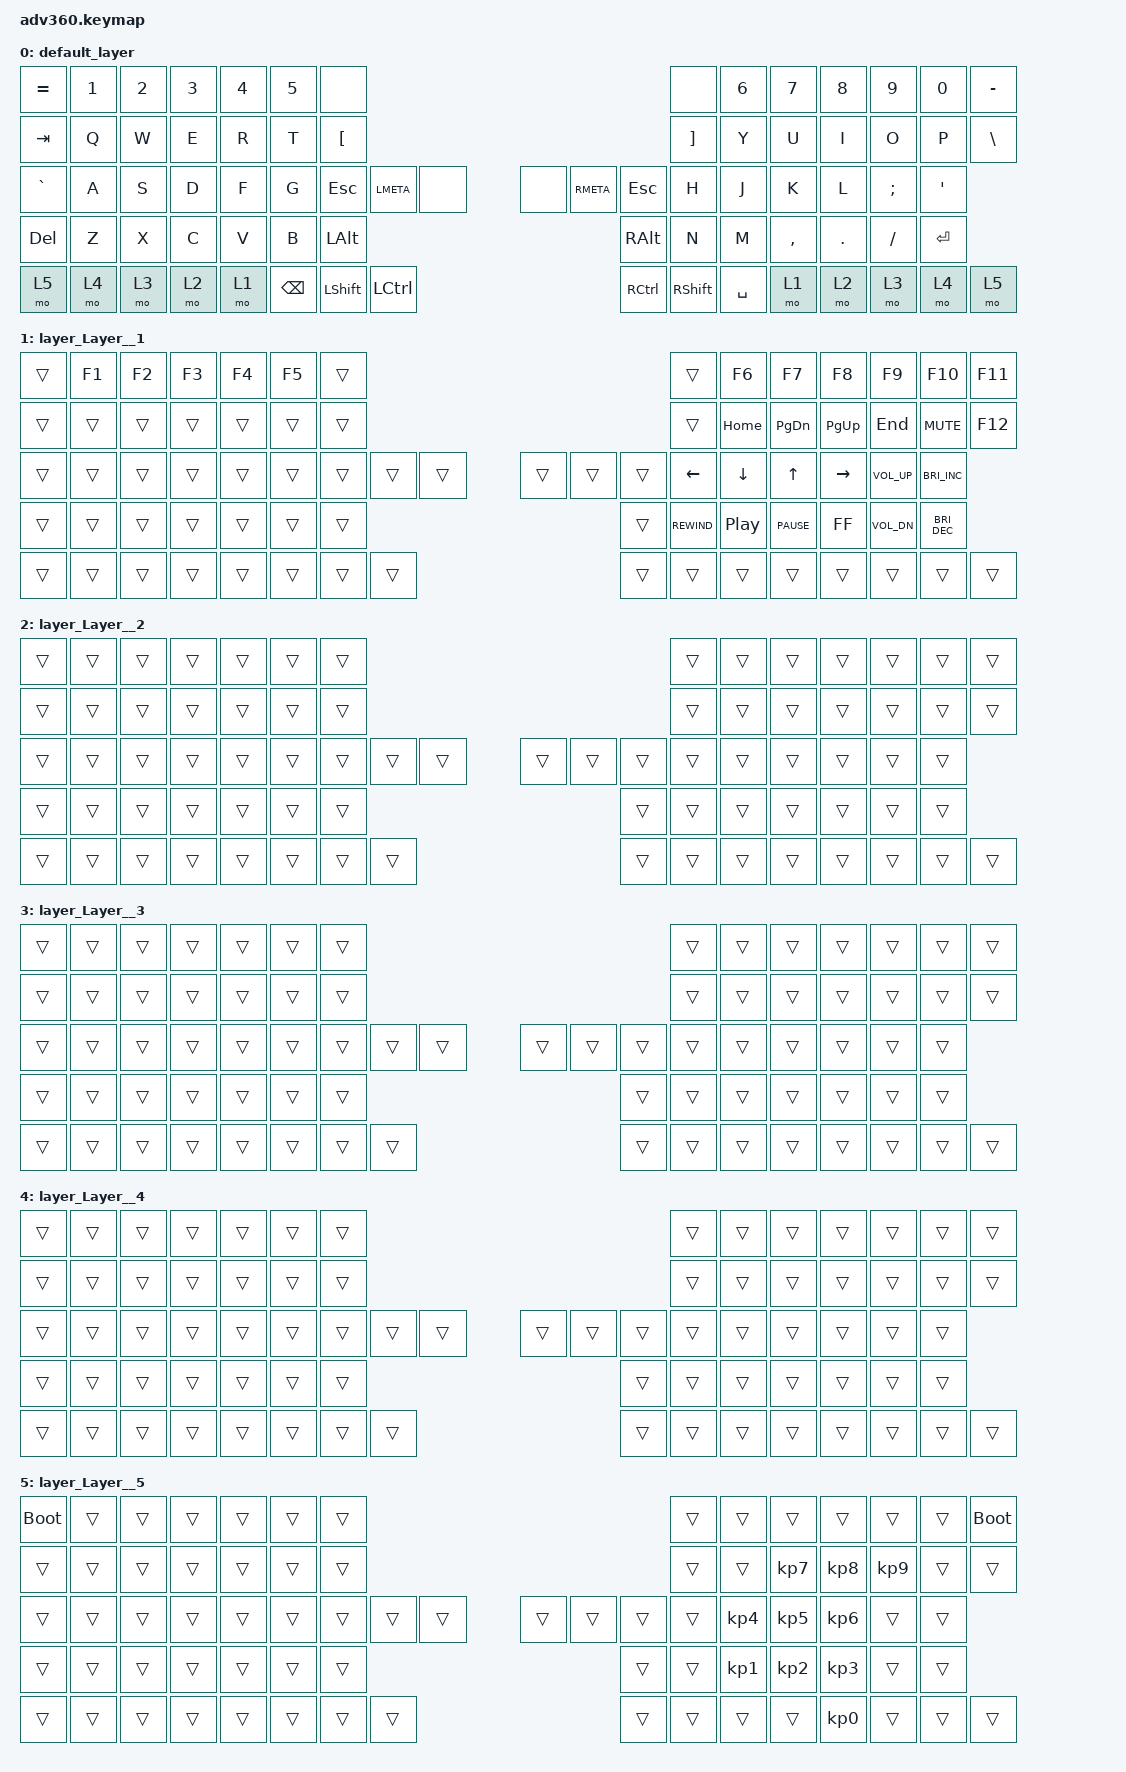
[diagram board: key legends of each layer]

/*
 * Copyright (c) 2020 The ZMK Contributors
 *
 * SPDX-License-Identifier: MIT
 */


/* THIS FILE WAS GENERATED!
 *
 * This file was generated automatically. You may or may not want to
 * edit it directly.
 */

#include <behaviors.dtsi>
#include <dt-bindings/zmk/keys.h>

/ {
  behaviors {
    #include "macros.dtsi"
    #include "version.dtsi"

    hm: homerow_mods {
        compatible = "zmk,behavior-hold-tap";
        label = "HOMEROW_MODS";
        #binding-cells = <2>;
        tapping-term-ms = <200>;
        quick_tap_ms = <175>;
        flavor = "tap-preferred";
        bindings = <&kp>, <&kp>;
    };
  };

    keymap {
        compatible = "zmk,keymap";


        default_layer {
            bindings = <
 &kp EQUAL  &kp N1  &kp N2  &kp N3  &kp N4  &kp N5               &none                                                                  &none  &kp N6  &kp N7     &kp N8   &kp N9     &kp N0  &kp MINUS
   &kp TAB   &kp Q   &kp W   &kp E   &kp R   &kp T            &kp LBKT                                                               &kp RBKT   &kp Y   &kp U      &kp I    &kp O      &kp P   &kp BSLH
 &kp GRAVE   &kp A   &kp S   &kp D   &kp F   &kp G             &kp ESC  &kp LMETA      &none                      &none  &kp RMETA    &kp ESC   &kp H   &kp J      &kp K    &kp L   &kp SEMI    &kp SQT
   &kp DEL   &kp Z   &kp X   &kp C   &kp V   &kp B                                  &kp LALT                   &kp RALT                         &kp N   &kp M  &kp COMMA  &kp DOT  &kp SLASH  &kp ENTER
     &mo 5   &mo 4   &mo 3   &mo 2   &mo 1                    &kp BSPC  &kp LSHFT  &kp LCTRL                  &kp RCTRL  &kp RSHFT  &kp SPACE           &mo 1      &mo 2    &mo 3      &mo 4      &mo 5
            >;
        };

        layer_Layer__1 {
            bindings = <
 &trans  &kp F1  &kp F2  &kp F3  &kp F4  &kp F5            &trans                                                  &trans        &kp F6     &kp F7       &kp F8     &kp F9          &kp F10               &kp F11
 &trans  &trans  &trans  &trans  &trans  &trans            &trans                                                  &trans      &kp HOME  &kp PG_DN    &kp PG_UP    &kp END       &kp C_MUTE               &kp F12
 &trans  &trans  &trans  &trans  &trans  &trans            &trans  &trans  &trans                  &trans  &trans  &trans      &kp LEFT   &kp DOWN       &kp UP  &kp RIGHT  &kp C_VOLUME_UP  &kp C_BRIGHTNESS_INC
 &trans  &trans  &trans  &trans  &trans  &trans                            &trans                  &trans                  &kp C_REWIND   &kp C_PP  &kp C_PAUSE   &kp C_FF     &kp C_VOL_DN  &kp C_BRIGHTNESS_DEC
 &trans  &trans  &trans  &trans  &trans                    &trans  &trans  &trans                  &trans  &trans  &trans                   &trans       &trans     &trans           &trans                &trans
            >;
        };

        layer_Layer__2 {
            bindings = <
 &trans  &trans  &trans  &trans  &trans  &trans            &trans                                                  &trans  &trans  &trans  &trans  &trans  &trans  &trans
 &trans  &trans  &trans  &trans  &trans  &trans            &trans                                                  &trans  &trans  &trans  &trans  &trans  &trans  &trans
 &trans  &trans  &trans  &trans  &trans  &trans            &trans  &trans  &trans                  &trans  &trans  &trans  &trans  &trans  &trans  &trans  &trans  &trans
 &trans  &trans  &trans  &trans  &trans  &trans                            &trans                  &trans                  &trans  &trans  &trans  &trans  &trans  &trans
 &trans  &trans  &trans  &trans  &trans                    &trans  &trans  &trans                  &trans  &trans  &trans          &trans  &trans  &trans  &trans  &trans
            >;
        };

        layer_Layer__3 {
            bindings = <
 &trans  &trans  &trans  &trans  &trans  &trans            &trans                                                  &trans  &trans  &trans  &trans  &trans  &trans  &trans
 &trans  &trans  &trans  &trans  &trans  &trans            &trans                                                  &trans  &trans  &trans  &trans  &trans  &trans  &trans
 &trans  &trans  &trans  &trans  &trans  &trans            &trans  &trans  &trans                  &trans  &trans  &trans  &trans  &trans  &trans  &trans  &trans  &trans
 &trans  &trans  &trans  &trans  &trans  &trans                            &trans                  &trans                  &trans  &trans  &trans  &trans  &trans  &trans
 &trans  &trans  &trans  &trans  &trans                    &trans  &trans  &trans                  &trans  &trans  &trans          &trans  &trans  &trans  &trans  &trans
            >;
        };

        layer_Layer__4 {
            bindings = <
 &trans  &trans  &trans  &trans  &trans  &trans            &trans                                                  &trans  &trans  &trans  &trans  &trans  &trans  &trans
 &trans  &trans  &trans  &trans  &trans  &trans            &trans                                                  &trans  &trans  &trans  &trans  &trans  &trans  &trans
 &trans  &trans  &trans  &trans  &trans  &trans            &trans  &trans  &trans                  &trans  &trans  &trans  &trans  &trans  &trans  &trans  &trans  &trans
 &trans  &trans  &trans  &trans  &trans  &trans                            &trans                  &trans                  &trans  &trans  &trans  &trans  &trans  &trans
 &trans  &trans  &trans  &trans  &trans                    &trans  &trans  &trans                  &trans  &trans  &trans          &trans  &trans  &trans  &trans  &trans
            >;
        };

        layer_Layer__5 {
            bindings = <
 &bootloader  &trans  &trans  &trans  &trans  &trans            &trans                                                  &trans  &trans     &trans     &trans     &trans  &trans  &bootloader
      &trans  &trans  &trans  &trans  &trans  &trans            &trans                                                  &trans  &trans  &kp KP_N7  &kp KP_N8  &kp KP_N9  &trans       &trans
      &trans  &trans  &trans  &trans  &trans  &trans            &trans  &trans  &trans                  &trans  &trans  &trans  &trans  &kp KP_N4  &kp KP_N5  &kp KP_N6  &trans       &trans
      &trans  &trans  &trans  &trans  &trans  &trans                            &trans                  &trans                  &trans  &kp KP_N1  &kp KP_N2  &kp KP_N3  &trans       &trans
      &trans  &trans  &trans  &trans  &trans                    &trans  &trans  &trans                  &trans  &trans  &trans             &trans  &kp KP_N0     &trans  &trans       &trans
            >;
        };

    };
};
